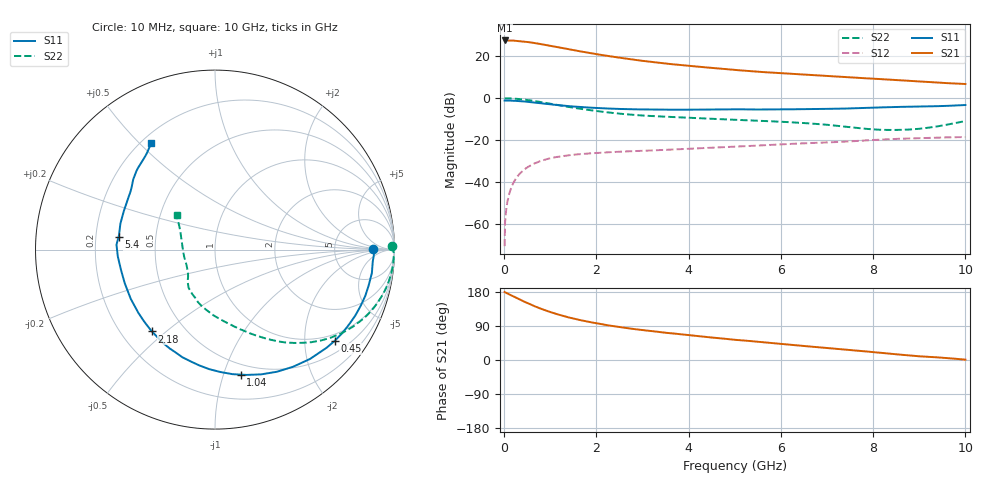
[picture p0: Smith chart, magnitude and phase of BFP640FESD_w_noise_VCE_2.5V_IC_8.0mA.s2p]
! Infineon Technologies  Discrete & RF Semiconductors
! BFP640FESD
! VCE =  2.5 V,  IC =  8.0 mA
! Common Emitter S-Parameters:  Jan 2016
# GHz  S  MA  R  50
!  f  S11  S21  S12  S22
! GHz  MAG  ANG  MAG  ANG  MAG  ANG  MAG  ANG
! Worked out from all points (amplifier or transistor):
!   233 points, 10 MHz to 10 GHz, reference 50 ohm
!   highest |S21| = 27.6 dB at 10 MHz (marker M1)
!   |S21| within 3 dB of that: start of sweep to 1.115 GHz
!   unconditionally stable (mu >= 1): 5.332 GHz to end of sweep
!   at 200 MHz: K = 0.03, MSG = 33.9 dB, |S12| = -40.3 dB
!   at 1.74 GHz: K = 0.41, MSG = 24.2 dB, |S12| = -26.4 dB
!   at 10 GHz: K = 1.15, MAG = 10.3 dB, |S12| = -18.5 dB
!   lowest NFmin = 0.62 dB at 450 MHz
!   S11 on the Smith chart (normalised r, x): 10 MHz: 16, +0; 450 MHz: 0.80, -2.75; 1.04 GHz: 0.41, -1.14; 2.18 GHz: 0.33, -0.45; 5.4 GHz: 0.30, +0.06; 10 GHz: 0.24, +0.54
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0.01  0.8822 0.2  23.9 179.5  0.0003 95.7  0.9852 1.1
0.02  0.886 -1.8  23.77 178.7  0.0011 88.9  0.9963 -1.0
0.06  0.8815 -5.1  23.75 176.3  0.0029 86.9  0.9964 -3.0
0.2  0.8761 -17.1  23.71 168.0  0.0097 81.1  0.9844 -10.3
0.34  0.8563 -28.7  23.08 159.5  0.0161 74.9  0.957 -17.3
0.45  0.8384 -37.4  22.39 153.2  0.0206 70.7  0.9288 -22.4
0.6  0.8071 -49.0  21.27 144.9  0.0262 65.0  0.8813 -29.1
0.7  0.7845 -56.3  20.45 139.9  0.0295 61.6  0.8477 -33.2
0.9  0.7412 -69.7  18.72 130.8  0.035 55.7  0.7789 -40.5
1.04  0.7114 -78.3  17.52 125.1  0.0381 52.2  0.7308 -45.1
1.22  0.679 -88.5  16.09 118.3  0.0414 48.5  0.674 -50.4
1.4  0.6506 -97.9  14.75 112.3  0.0439 45.4  0.6225 -55.3
1.68  0.6162 -110.1  12.97 104.5  0.0471 41.8  0.5566 -61.7
1.9  0.5966 -118.5  11.76 99.1  0.0491 39.8  0.5146 -66.3
2.18  0.5755 -127.6  10.48 93.1  0.0511 38.0  0.4713 -71.6
2.74  0.5486 -143.7  8.514 82.9  0.0548 35.7  0.4081 -81.7
3.4  0.5367 -157.7  6.933 73.4  0.0585 35.0  0.3687 -90.6
5.1  0.5474 176.1  4.653 52.4  0.0711 34.8  0.3045 -108.7
5.4  0.5421 172.6  4.381 49.3  0.0739 35.4  0.2959 -110.7
6.8  0.5559 153.2  3.502 33.7  0.087 32.5  0.2436 -128.1
8.4  0.6178 135.3  2.764 16.2  0.1069 28.5  0.1763 -166.1
10  0.6922 120.8  2.191 0.9  0.1195 20.3  0.2869 138.0
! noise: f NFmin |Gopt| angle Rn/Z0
0.45  0.62  0.3  5  0.11
2.4  0.72  0.16  61  0.1
5.5  0.97  0.33  156  0.07
10  1.69  0.47  -119  0.24
